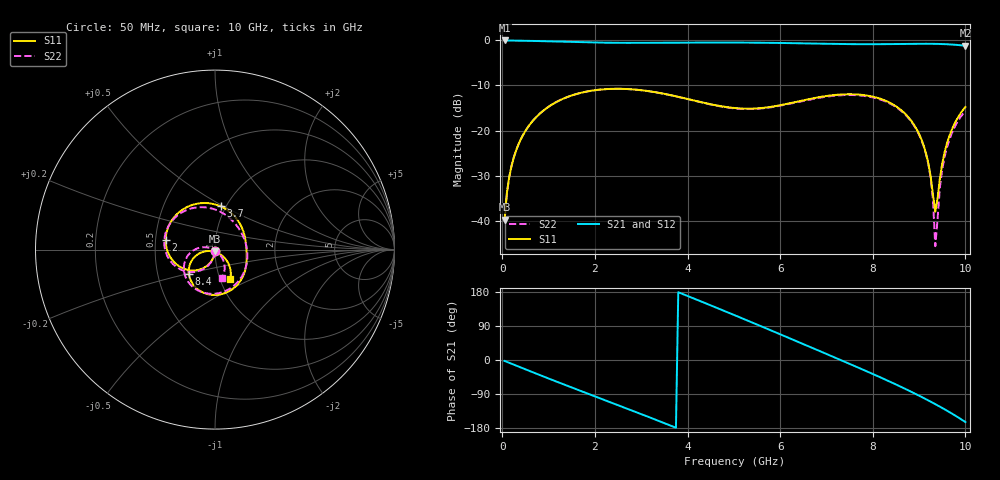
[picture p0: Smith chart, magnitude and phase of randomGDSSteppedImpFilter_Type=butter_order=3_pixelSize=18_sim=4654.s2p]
! freq	dB(S11)	phase(S11)	dB(S12)	phase(S12)
!  dB(S21)	phase(S21)	dB(S22)	phase(S22)
!S-par simulation data
#  GHz  S  DB  R 50
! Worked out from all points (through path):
!   200 points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, 50 MHz to 10 GHz, reference 50 ohm
!   highest |S21| = 0.00 dB at 50 MHz (marker M1); lowest = -1.2 dB at 10 GHz (marker M2)
!   group delay of S21, straight-line fit = 141 ps
!   lowest |S11| = -39.8 dB at 50 MHz (marker M3), VSWR 1.02, Z = 49.9 - j1.02 ohm
!   |S11| at or under -10 dB: start of sweep to end of sweep
!   |S22| runs from -45.7 to -10.7 dB; largest |S21 - S12| = 0
!   S11 on the Smith chart (normalised r, x): 50 MHz: 1.00, -0.02; 2 GHz: 0.57, +0.07; 3.7 GHz: 0.94, +0.48; 8.4 GHz: 0.72, -0.21; 10 GHz: 1.12, -0.37
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0.05  -39.78 -92.5  -0.00 -2.5  -0.00 -2.5  -39.91 -92.6
0.2  -27.83 -100.6  -0.02 -9.9  -0.02 -9.9  -27.84 -99.8
0.5  -20.08 -116.0  -0.07 -24.6  -0.07 -24.6  -20.06 -114.0
1.75  -11.50 -179.0  -0.42 -84.3  -0.42 -84.3  -11.50 -171.1
2  -11.05 168.7  -0.47 -95.9  -0.47 -95.9  -11.04 178.0
2.65  -10.76 136.4  -0.53 -126.2  -0.53 -126.2  -10.77 149.7
3.4  -11.66 98.1  -0.52 -161.8  -0.52 -161.8  -11.67 117.0
3.7  -12.28 82.6  -0.50 -176.3  -0.50 -176.3  -12.30 103.6
4.35  -13.83 49.2  -0.46 151.7  -0.46 151.7  -13.88 73.6
5.05  -15.03 15.9  -0.47 116.5  -0.47 116.5  -15.11 37.4
5.85  -14.66 -17.5  -0.54 75.7  -0.54 75.7  -14.76 -9.2
6.7  -12.85 -53.8  -0.68 31.6  -0.68 31.6  -12.99 -58.9
7.5  -11.94 -91.4  -0.82 -10.2  -0.82 -10.2  -12.10 -103.0
8.35  -13.73 -134.0  -0.82 -56.0  -0.82 -56.0  -13.90 -149.2
8.4  -13.99 -136.6  -0.81 -58.9  -0.81 -58.9  -14.16 -152.0
9.1  -23.35 -169.3  -0.74 -100.3  -0.74 -100.3  -23.50 168.6
9.25  -30.19 -165.4  -0.74 -109.9  -0.74 -109.9  -30.53 163.0
9.3  -34.26 -152.1  -0.75 -113.2  -0.75 -113.2  -35.40 165.2
9.35  -38.04 -110.3  -0.76 -116.5  -0.76 -116.5  -45.66 -158.7
9.45  -30.56 -45.8  -0.78 -123.2  -0.78 -123.2  -32.52 -45.5
9.55  -24.86 -40.1  -0.82 -130.0  -0.82 -130.0  -25.89 -47.6
10  -14.78 -62.0  -1.19 -163.7  -1.19 -163.7  -15.67 -77.0
